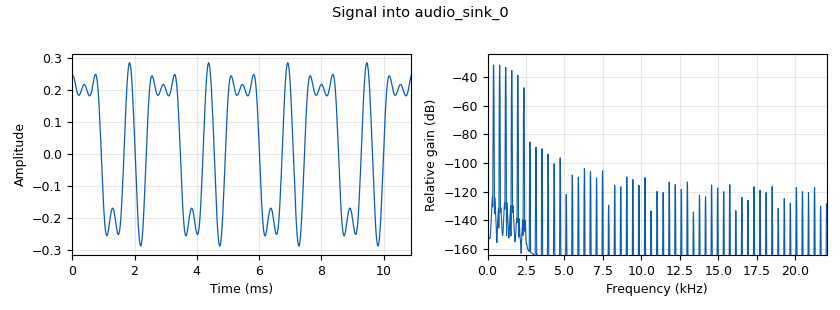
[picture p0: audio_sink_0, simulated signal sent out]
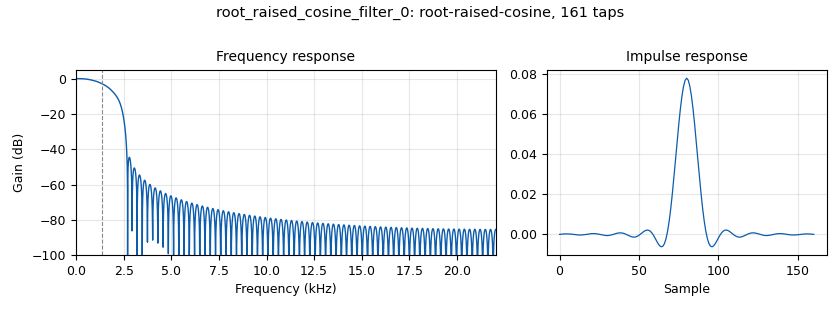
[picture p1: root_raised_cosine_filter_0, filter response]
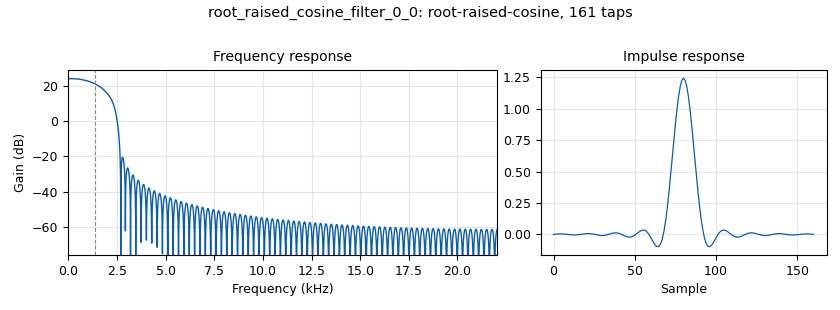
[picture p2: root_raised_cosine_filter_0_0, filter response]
options:
  parameters:
    author: Qasim Chaudhari
    generate_options: qt_gui
    id: pam_rx_rrc
    output_language: python
    title: PAM Rx RRC
  states: {}

blocks:
- name: delay_iq_range
  id: variable_qtgui_range
  parameters:
    start: '0'
    step: '1'
    stop: '500'
    value: '0'
    widget: eng_slider
  states: {}
- name: delay_range
  id: variable_qtgui_range
  parameters:
    start: '0'
    step: '1'
    stop: '5000'
    value: '0'
    widget: eng_slider
  states: {}
- name: excess_bw
  id: variable_qtgui_chooser
  parameters:
    gui_hint: 0,0,1,1
    label: Excess Bandwidth
    label0: '0.9'
    label1: '0.5'
    label2: '0.1'
    num_opts: '3'
    option0: '0.9'
    option1: '0.5'
    option2: '0.1'
    orient: Qt.QHBoxLayout
    type: real
    value: '0.9'
    widget: radio_buttons
  states: {}
- name: gain_range
  id: variable_qtgui_range
  parameters:
    start: '0'
    step: '0.1'
    stop: '5'
    value: '2.7'
  states: {}
- name: samp_per_sym
  id: variable
  parameters:
    value: '16'
  states: {}
- name: samp_rate
  id: variable
  parameters:
    value: '44100'
  states: {}
- name: analog_random_source_x_0
  id: analog_random_source_x
  parameters:
    comment: Bits Generation
    max: '2'
    min: '0'
    num_samps: '7'
    repeat: 'True'
    type: byte
  states: {}
- name: audio_sink_0
  id: audio_sink
  parameters:
    samp_rate: samp_rate
  states: {}
- name: audio_source_0
  id: audio_source
  parameters:
    samp_rate: samp_rate
  states: {}
- name: blocks_char_to_float_0
  id: blocks_char_to_float
  parameters:
    scale: '1'
  states: {}
- name: blocks_delay_0
  id: blocks_delay
  parameters:
    comment: samp_per_sym*8-55+4230 for direct connection
    delay: delay_range
    type: float
  states: {}
- name: blocks_delay_0_0
  id: blocks_delay
  parameters:
    comment: samp_per_sym*8-55+4230 for direct connection
    delay: delay_iq_range
    type: float
  states: {}
- name: blocks_float_to_complex_0
  id: blocks_float_to_complex
  parameters: {}
  states: {}
- name: blocks_keep_one_in_n_0
  id: blocks_keep_one_in_n
  parameters:
    n: samp_per_sym
    type: float
  states: {}
- name: blocks_multiply_const_vxx_0
  id: blocks_multiply_const_vxx
  parameters:
    const: gain_range
    type: float
  states: {}
- name: blocks_multiply_const_vxx_0_0
  id: blocks_multiply_const_vxx
  parameters:
    const: '0.2'
    type: float
  states: {}
- name: blocks_multiply_const_vxx_0_0_0
  id: blocks_multiply_const_vxx
  parameters:
    const: '0.2'
    type: float
  states: {state: disabled}
- name: blocks_null_sink_0
  id: blocks_null_sink
  parameters:
    type: float
  states: {}
- name: blocks_pack_k_bits_bb_0
  id: blocks_pack_k_bits_bb
  parameters:
    k: '1'
  states: {}
- name: blocks_skiphead_0
  id: blocks_skiphead
  parameters:
    num_items: '0'
    type: float
  states: {}
- name: blocks_skiphead_0_0
  id: blocks_skiphead
  parameters:
    num_items: '43500'
    type: float
  states: {}
- name: blocks_throttle2_0
  id: blocks_throttle2
  parameters:
    samples_per_second: samp_rate
    type: byte
  states: {}
- name: blocks_vector_source_x_0
  id: blocks_vector_source_x
  parameters:
    repeat: 'True'
    type: byte
    vector: tuple([1, 0, 1, 0] * 1 + [0, 0, 1, 1] * 1)
  states: {state: disabled}
- name: blocks_wavfile_sink_0
  id: blocks_wavfile_sink
  parameters:
    bits_per_sample1: FORMAT_PCM_16
    file: /home/user/data/Exercise_3d_PAM_Rx_RRC_sc_bits.wav
    format: FORMAT_WAV
    nchan: '2'
    samp_rate: samp_rate
  states: {state: disabled}
- name: blocks_wavfile_sink_0_0
  id: blocks_wavfile_sink
  parameters:
    bits_per_sample1: FORMAT_PCM_16
    file: /home/user/data/Exercise_3d_PAM_Rx_RRC_sc.wav
    format: FORMAT_WAV
    nchan: '3'
    samp_rate: samp_rate
  states: {state: disabled}
- name: digital_map_bb_0
  id: digital_map_bb
  parameters:
    comment: Look-Up Table
    map: (-1,1)
  states: {}
- name: import_0
  id: import
  parameters:
    imports: import numpy as np
  states: {}
- name: interp_fir_filter_xxx_0
  id: interp_fir_filter_xxx
  parameters:
    comment: Upsampler
    interp: samp_per_sym
    taps: np.hstack((1,np.zeros(samp_per_sym-1)))
    type: fff
  states: {}
- name: note_0_0_0
  id: note
  parameters:
    note: Downsampler
  states: {}
- name: qtgui_const_sink_x_0
  id: qtgui_const_sink_x
  parameters:
    grid: 'True'
    gui_hint: 2,3,1,1
    label1: Transmitted
    name: Scatter Plot
    size: '10'
    style1: '2'
    type: complex
  states: {}
- name: qtgui_time_sink_x_0_1
  id: qtgui_time_sink_x
  parameters:
    ctrlpanel: 'True'
    grid: 'True'
    label1: gen
    label2: capture
    name: RRC Filtered Waveform
    nconnections: '2'
    size: samp_per_sym*14
    srate: samp_rate
    tr_mode: qtgui.TRIG_MODE_NORM
    type: float
    width1: '2'
    ymax: '2.5'
    ymin: '-2.5'
  states: {}
- name: qtgui_time_sink_x_0_3
  id: qtgui_time_sink_x
  parameters:
    ctrlpanel: 'True'
    grid: 'True'
    label1: TX
    label2: RX
    marker1: '0'
    marker2: '1'
    name: Symbols Compare
    nconnections: '2'
    size: '10'
    srate: samp_rate
    stemplot: 'True'
    type: float
    width1: '2'
    ymax: '1.5'
    ymin: '-1.5'
  states: {state: disabled}
- name: root_raised_cosine_filter_0
  id: root_raised_cosine_filter
  parameters:
    alpha: excess_bw
    comment: Matched Filter
    decim: '1'
    gain: '1'
    ntaps: 10*samp_per_sym+1
    samp_rate: samp_rate
    sym_rate: samp_rate/samp_per_sym
    type: fir_filter_fff
  states: {}
- name: root_raised_cosine_filter_0_0
  id: root_raised_cosine_filter
  parameters:
    alpha: excess_bw
    comment: Pulse Shaping Filter
    gain: samp_per_sym
    interp: '1'
    ntaps: 10*samp_per_sym+1
    samp_rate: samp_rate
    sym_rate: samp_rate/samp_per_sym
    type: interp_fir_filter_fff
  states: {}

connections:
- [analog_random_source_x_0, '0', blocks_throttle2_0, '0']
- [audio_source_0, '0', blocks_skiphead_0_0, '0']
- [audio_source_0, '0', blocks_wavfile_sink_0_0, '1']
- [blocks_char_to_float_0, '0', blocks_delay_0_0, '0']
- [blocks_char_to_float_0, '0', interp_fir_filter_xxx_0, '0']
- [blocks_char_to_float_0, '0', qtgui_time_sink_x_0_3, '0']
- [blocks_delay_0, '0', qtgui_time_sink_x_0_1, '1']
- [blocks_delay_0, '0', root_raised_cosine_filter_0, '0']
- [blocks_delay_0_0, '0', blocks_float_to_complex_0, '1']
- [blocks_float_to_complex_0, '0', qtgui_const_sink_x_0, '0']
- [blocks_keep_one_in_n_0, '0', blocks_float_to_complex_0, '0']
- [blocks_keep_one_in_n_0, '0', blocks_null_sink_0, '0']
- [blocks_multiply_const_vxx_0, '0', blocks_delay_0, '0']
- [blocks_multiply_const_vxx_0_0, '0', audio_sink_0, '0']
- [blocks_multiply_const_vxx_0_0, '0', blocks_wavfile_sink_0_0, '0']
- [blocks_multiply_const_vxx_0_0_0, '0', blocks_wavfile_sink_0_0, '2']
- [blocks_pack_k_bits_bb_0, '0', digital_map_bb_0, '0']
- [blocks_skiphead_0, '0', blocks_keep_one_in_n_0, '0']
- [blocks_skiphead_0_0, '0', blocks_multiply_const_vxx_0, '0']
- [blocks_throttle2_0, '0', blocks_pack_k_bits_bb_0, '0']
- [blocks_vector_source_x_0, '0', blocks_throttle2_0, '0']
- [digital_map_bb_0, '0', blocks_char_to_float_0, '0']
- [interp_fir_filter_xxx_0, '0', root_raised_cosine_filter_0_0, '0']
- [root_raised_cosine_filter_0, '0', blocks_multiply_const_vxx_0_0_0, '0']
- [root_raised_cosine_filter_0, '0', blocks_skiphead_0, '0']
- [root_raised_cosine_filter_0_0, '0', blocks_multiply_const_vxx_0_0, '0']
- [root_raised_cosine_filter_0_0, '0', qtgui_time_sink_x_0_1, '0']

metadata:
  file_format: 1
  grc_version: 3.10.9.2
